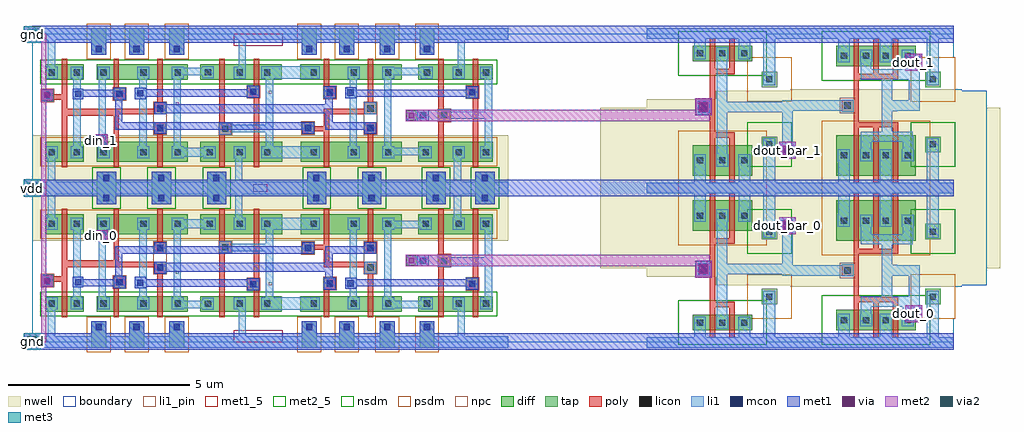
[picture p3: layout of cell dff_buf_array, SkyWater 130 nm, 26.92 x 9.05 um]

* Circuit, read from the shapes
.subckt dff_buf_array clk din_0 din_1 dout_0 dout_1 dout_bar_0 dout_bar_1 gnd vdd
XM1 dff_buf_0_0/dff_0/clkb clk gnd gnd sky130_fd_pr__nfet_01v8 w=0.42 l=0.15
XM2 dff_buf_0_1/dff_0/clkb clk gnd gnd sky130_fd_pr__nfet_01v8 w=0.42 l=0.15
XM3 dff_buf_0_0/dff_0/net1 dff_buf_0_0/dff_0/clkb din_0 gnd sky130_fd_pr__nfet_01v8 w=0.42 l=0.15
XM4 dff_buf_0_1/dff_0/net1 dff_buf_0_1/dff_0/clkb din_1 gnd sky130_fd_pr__nfet_01v8 w=0.42 l=0.15
XM5 dff_buf_0_0/dff_0/net2 clk dff_buf_0_0/dff_0/net1 gnd sky130_fd_pr__nfet_01v8 w=0.42 l=0.15
XM6 dff_buf_0_1/dff_0/net2 clk dff_buf_0_1/dff_0/net1 gnd sky130_fd_pr__nfet_01v8 w=0.42 l=0.15
XM7 gnd dff_buf_0_0/dff_0/net3 dff_buf_0_0/dff_0/net2 gnd sky130_fd_pr__nfet_01v8 w=0.42 l=0.15
XM8 gnd dff_buf_0_1/dff_0/net3 dff_buf_0_1/dff_0/net2 gnd sky130_fd_pr__nfet_01v8 w=0.42 l=0.15
XM9 dff_buf_0_0/dff_0/net3 dff_buf_0_0/dff_0/net1 gnd gnd sky130_fd_pr__nfet_01v8 w=0.42 l=0.15
XM10 dff_buf_0_1/dff_0/net3 dff_buf_0_1/dff_0/net1 gnd gnd sky130_fd_pr__nfet_01v8 w=0.42 l=0.15
XM11 dff_buf_0_0/dff_0/net4 clk dff_buf_0_0/dff_0/net3 gnd sky130_fd_pr__nfet_01v8 w=0.42 l=0.15
XM12 dff_buf_0_1/dff_0/net4 clk dff_buf_0_1/dff_0/net3 gnd sky130_fd_pr__nfet_01v8 w=0.42 l=0.15
XM13 dff_buf_0_0/dff_0/net5 dff_buf_0_0/dff_0/clkb dff_buf_0_0/dff_0/net4 gnd sky130_fd_pr__nfet_01v8 w=0.42 l=0.15
XM14 dff_buf_0_1/dff_0/net5 dff_buf_0_1/dff_0/clkb dff_buf_0_1/dff_0/net4 gnd sky130_fd_pr__nfet_01v8 w=0.42 l=0.15
XM15 gnd dff_buf_0_0/pinv_2_1/A dff_buf_0_0/dff_0/net5 gnd sky130_fd_pr__nfet_01v8 w=0.42 l=0.15
XM16 gnd dff_buf_0_1/pinv_2_1/A dff_buf_0_1/dff_0/net5 gnd sky130_fd_pr__nfet_01v8 w=0.42 l=0.15
XM17 dff_buf_0_0/pinv_2_1/A dff_buf_0_0/dff_0/net4 gnd gnd sky130_fd_pr__nfet_01v8 w=0.42 l=0.15
XM18 dff_buf_0_1/pinv_2_1/A dff_buf_0_1/dff_0/net4 gnd gnd sky130_fd_pr__nfet_01v8 w=0.42 l=0.15
XM19 dout_bar_0 dff_buf_0_0/pinv_2_1/A gnd gnd sky130_fd_pr__nfet_01v8 w=0.42 l=0.15 m=2
XM20 dout_bar_1 dff_buf_0_1/pinv_2_1/A gnd gnd sky130_fd_pr__nfet_01v8 w=0.42 l=0.15 m=2
XM21 dout_0 dout_bar_0 gnd gnd sky130_fd_pr__nfet_01v8 w=0.56 l=0.15 m=3
XM22 dout_1 dout_bar_1 gnd gnd sky130_fd_pr__nfet_01v8 w=0.56 l=0.15 m=3
XM23 dff_buf_0_0/dff_0/clkb clk vdd vdd sky130_fd_pr__pfet_01v8 w=0.55 l=0.15
XM24 dff_buf_0_1/dff_0/clkb clk vdd vdd sky130_fd_pr__pfet_01v8 w=0.55 l=0.15
XM25 dff_buf_0_0/dff_0/net1 clk din_0 vdd sky130_fd_pr__pfet_01v8 w=0.55 l=0.15
XM26 dff_buf_0_1/dff_0/net1 clk din_1 vdd sky130_fd_pr__pfet_01v8 w=0.55 l=0.15
XM27 dff_buf_0_0/dff_0/net2 dff_buf_0_0/dff_0/clkb dff_buf_0_0/dff_0/net1 vdd sky130_fd_pr__pfet_01v8 w=0.55 l=0.15
XM28 dff_buf_0_1/dff_0/net2 dff_buf_0_1/dff_0/clkb dff_buf_0_1/dff_0/net1 vdd sky130_fd_pr__pfet_01v8 w=0.55 l=0.15
XM29 vdd dff_buf_0_0/dff_0/net3 dff_buf_0_0/dff_0/net2 vdd sky130_fd_pr__pfet_01v8 w=0.55 l=0.15
XM30 vdd dff_buf_0_1/dff_0/net3 dff_buf_0_1/dff_0/net2 vdd sky130_fd_pr__pfet_01v8 w=0.55 l=0.15
XM31 dff_buf_0_0/dff_0/net3 dff_buf_0_0/dff_0/net1 vdd vdd sky130_fd_pr__pfet_01v8 w=0.55 l=0.15
XM32 dff_buf_0_1/dff_0/net3 dff_buf_0_1/dff_0/net1 vdd vdd sky130_fd_pr__pfet_01v8 w=0.55 l=0.15
XM33 dff_buf_0_0/dff_0/net4 dff_buf_0_0/dff_0/clkb dff_buf_0_0/dff_0/net3 vdd sky130_fd_pr__pfet_01v8 w=0.55 l=0.15
XM34 dff_buf_0_1/dff_0/net4 dff_buf_0_1/dff_0/clkb dff_buf_0_1/dff_0/net3 vdd sky130_fd_pr__pfet_01v8 w=0.55 l=0.15
XM35 dff_buf_0_0/dff_0/net5 clk dff_buf_0_0/dff_0/net4 vdd sky130_fd_pr__pfet_01v8 w=0.55 l=0.15
XM36 dff_buf_0_1/dff_0/net5 clk dff_buf_0_1/dff_0/net4 vdd sky130_fd_pr__pfet_01v8 w=0.55 l=0.15
XM37 vdd dff_buf_0_0/pinv_2_1/A dff_buf_0_0/dff_0/net5 vdd sky130_fd_pr__pfet_01v8 w=0.55 l=0.15
XM38 vdd dff_buf_0_1/pinv_2_1/A dff_buf_0_1/dff_0/net5 vdd sky130_fd_pr__pfet_01v8 w=0.55 l=0.15
XM39 dff_buf_0_0/pinv_2_1/A dff_buf_0_0/dff_0/net4 vdd vdd sky130_fd_pr__pfet_01v8 w=0.55 l=0.15
XM40 dff_buf_0_1/pinv_2_1/A dff_buf_0_1/dff_0/net4 vdd vdd sky130_fd_pr__pfet_01v8 w=0.55 l=0.15
XM41 dout_bar_0 dff_buf_0_0/pinv_2_1/A vdd vdd sky130_fd_pr__pfet_01v8 w=0.84 l=0.15 m=2
XM42 dout_bar_1 dff_buf_0_1/pinv_2_1/A vdd vdd sky130_fd_pr__pfet_01v8 w=0.84 l=0.15 m=2
XM43 dout_0 dout_bar_0 vdd vdd sky130_fd_pr__pfet_01v8 w=1.12 l=0.15 m=3
XM44 dout_1 dout_bar_1 vdd vdd sky130_fd_pr__pfet_01v8 w=1.12 l=0.15 m=3
.ends

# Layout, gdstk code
import gdstk
lib = gdstk.Library(unit=1e-6, precision=1e-09)
def R(c, l, rs):  # rectangles x0, y0, x1, y1
    for r in rs: c.add(gdstk.rectangle(r[:2], r[2:], *l))
def A(c, l, x, y, w, h, nx, ny, dx, dy):  # array of equal rectangles
    R(c, l, [(x+i*dx, y+j*dy, x+i*dx+w, y+j*dy+h) for i in range(nx) for j in range(ny)])
nwell = (64, 20)
diff = (65, 20)
tap = (65, 44)
poly = (66, 20)
licon = (66, 44)
li1_pin = (67, 16)
li1 = (67, 20)
mcon = (67, 44)
met1_5 = (68, 5)
met1 = (68, 20)
via = (68, 44)
met2_5 = (69, 5)
met2 = (69, 20)
via2 = (69, 44)
met3 = (70, 20)
nsdm = (93, 44)
psdm = (94, 20)
npc = (95, 20)
boundary = (235, 4)

dff = lib.new_cell('dff')
R(dff, nwell, [(0,2.81,13.13,4.61)])
R(dff, diff, [(0.35,0.85,1.42,1.27), (1.78,0.85,4.28,1.27), (4.63,0.85,6.88,1.27), (7.39,0.85,10.19,1.27), (10.64,0.85,12.7,1.27), (0.35,2.99,1.42,3.54), (1.78,2.99,4.28,3.54), (4.63,2.99,6.89,3.54), (7.4,2.99,10.19,3.54), (10.64,2.99,12.7,3.54)])
A(dff, tap, 1.78, 3.81, 0.53, 0.62, 3, 1, 1.52, 0)
R(dff, tap, [(1.63,-0.14,2.04,0.58), (2.67,-0.14,3.08,0.58), (3.78,-0.14,4.19,0.58), (7.43,-0.14,7.84,0.58), (8.47,-0.14,8.88,0.58), (9.58,-0.14,9.99,0.58), (10.68,-0.14,11.09,0.58), (7.58,3.81,8.11,4.43), (9.1,3.81,9.63,4.43), (10.87,3.81,11.4,4.43), (12.22,3.81,12.75,4.43)])
R(dff, poly, [(0.81,0.7,0.96,1.68), (2.24,0.7,2.39,1.5), (3.45,0.7,3.6,1.9), (5.16,0.7,5.31,2.46), (6.11,0.7,6.26,1.44), (8.04,0.7,8.19,1.46), (9.25,0.7,9.4,1.9), (11.2,0.7,11.35,2.09), (12.15,0.7,12.3,1.45), (5.93,1.44,6.26,1.77), (11.97,1.45,12.3,1.78), (8.04,1.46,8.37,1.79), (2.24,1.5,2.57,1.83), (0.25,1.54,0.58,1.68), (0.25,1.68,0.96,1.83), (6.11,1.77,6.26,3.69), (12.15,1.78,12.3,3.69), (0.25,1.83,0.58,1.87), (0.81,1.83,0.96,2.07), (3.36,1.9,3.69,2.07), (9.16,1.9,9.49,2.07), (0.81,2.07,3.69,2.23), (8.04,2.07,9.49,2.23), (11.2,2.09,11.53,2.42), (0.81,2.23,2.39,2.27), (8.04,2.23,8.19,2.55), (0.81,2.27,0.96,3.69), (2.24,2.27,2.39,3.69), (11.2,2.42,11.35,3.69), (3.36,2.44,3.69,2.77), (7.44,2.44,7.77,2.55), (9.16,2.44,9.49,2.77), (5.16,2.46,5.49,2.79), (7.44,2.55,8.19,2.7), (7.44,2.7,7.77,2.77), (8.04,2.7,8.19,3.69), (3.45,2.77,3.6,3.69), (9.25,2.77,9.4,3.69), (5.16,2.79,5.31,3.69)])
A(dff, licon, 1.95, 3.9, 0.17, 0.17, 3, 1, 1.52, 0)
R(dff, licon, [(1.75,0.34,1.92,0.51), (2.79,0.34,2.96,0.51), (3.9,0.34,4.07,0.51), (7.55,0.34,7.72,0.51), (8.59,0.34,8.76,0.51), (9.7,0.34,9.87,0.51), (10.8,0.34,10.97,0.51), (4.76,0.98,4.93,1.15), (0.45,0.99,0.62,1.16), (1.14,0.99,1.31,1.16), (1.88,0.99,2.05,1.16), (2.98,0.99,3.15,1.16), (3.93,0.99,4.1,1.16), (5.64,0.99,5.81,1.16), (6.39,0.99,6.56,1.16), (7.68,0.99,7.85,1.16), (8.78,0.99,8.95,1.16), (9.73,0.99,9.9,1.16), (10.8,0.99,10.97,1.16), (11.68,0.99,11.85,1.16), (12.43,0.99,12.6,1.16), (6.01,1.52,6.18,1.69), (12.05,1.53,12.22,1.7), (8.12,1.54,8.29,1.71), (2.32,1.58,2.49,1.75), (0.33,1.62,0.5,1.79), (3.44,1.98,3.61,2.15), (9.24,1.98,9.41,2.15), (11.28,2.17,11.45,2.34), (3.44,2.52,3.61,2.69), (7.52,2.52,7.69,2.69), (9.24,2.52,9.41,2.69), (5.24,2.54,5.41,2.71), (0.45,3.19,0.62,3.36), (1.14,3.19,1.31,3.36), (1.88,3.19,2.05,3.36), (2.98,3.19,3.15,3.36), (3.93,3.19,4.1,3.36), (4.81,3.19,4.98,3.36), (5.64,3.19,5.81,3.36), (6.39,3.19,6.56,3.36), (7.68,3.19,7.85,3.36), (8.78,3.19,8.95,3.36), (9.73,3.19,9.9,3.36), (10.77,3.19,10.94,3.36), (11.68,3.19,11.85,3.36), (12.43,3.19,12.6,3.36), (7.75,3.9,7.92,4.07), (9.27,3.9,9.44,4.07), (11.04,3.9,11.21,4.07), (12.39,3.9,12.56,4.07)])
R(dff, li1_pin, [(8.74,1.57,8.82,1.64), (6.52,1.58,6.6,1.66), (2.34,1.59,2.45,1.72), (2.92,1.6,3,1.67), (3.96,1.9,4.04,1.98), (9.75,3.2,9.85,3.32)])
A(dff, li1, 1.78, 3.81, 0.53, 0.29, 3, 1, 1.52, 0)
R(dff, li1, [(0,-0.14,13.13,0.17), (0.43,0.17,0.63,0.91), (1.63,0.17,2.04,0.58), (2.67,0.17,3.08,0.58), (3.78,0.17,4.19,0.58), (5.69,0.17,5.89,0.91), (7.43,0.17,7.84,0.58), (8.47,0.17,8.88,0.58), (9.58,0.17,9.99,0.58), (10.68,0.17,11.09,0.58), (11.73,0.17,11.93,0.91), (4.68,0.9,5.01,0.95), (6.31,0.9,7.93,1.24), (0.37,0.91,0.7,1.24), (1.06,0.91,1.39,1.24), (1.8,0.91,2.13,1.24), (2.9,0.91,3.23,1.24), (3.85,0.91,4.18,0.95), (5.56,0.91,5.89,1.24), (8.7,0.91,9.03,1.24), (9.65,0.91,9.98,0.95), (10.72,0.91,11.05,0.95), (11.6,0.91,11.93,1.24), (12.35,0.91,12.68,1.24), (3.85,0.95,5.01,1.15), (9.65,0.95,11.05,1.15), (3.85,1.15,4.18,1.24), (4.68,1.15,5.01,1.23), (9.65,1.15,9.98,1.24), (10.72,1.15,11.05,1.24), (1.13,1.24,1.33,1.52), (1.83,1.24,2.03,2.8), (2.95,1.24,3.15,1.5), (3.9,1.24,4.1,3.11), (6.44,1.24,6.64,2.52), (8.75,1.24,8.95,1.48), (9.7,1.24,9.9,3.11), (12.48,1.24,12.68,2.15), (5.93,1.44,6.26,1.77), (11.97,1.45,12.3,1.78), (8.04,1.46,8.37,1.79), (8.63,1.48,8.95,1.79), (2.24,1.5,2.57,1.83), (2.83,1.5,3.15,1.81), (1.12,1.52,1.41,1.81), (0.25,1.54,0.58,1.87), (8.75,1.79,8.95,3.11), (1.13,1.81,1.33,3.11), (2.95,1.81,3.15,3.11), (3.36,1.9,3.69,2.23), (9.16,1.9,9.49,2.23), (11.2,2.09,11.53,2.1), (10.62,2.1,11.53,2.15), (10.62,2.15,12.68,2.35), (10.62,2.35,11.53,2.42), (12.48,2.35,12.68,3.11), (3.36,2.44,3.69,2.77), (7.44,2.44,7.77,2.77), (9.16,2.44,9.49,2.77), (5.16,2.46,5.49,2.52), (5.16,2.52,6.64,2.72), (5.16,2.72,5.49,2.79), (6.44,2.72,6.64,3.11), (1.75,2.8,2.03,3.08), (1.8,3.08,2.03,3.11), (0.37,3.11,0.7,3.44), (1.06,3.11,1.39,3.44), (1.8,3.11,2.13,3.44), (2.9,3.11,3.23,3.44), (3.85,3.11,4.18,3.15), (4.73,3.11,5.06,3.15), (5.56,3.11,5.89,3.44), (6.31,3.11,7.93,3.44), (8.7,3.11,9.03,3.44), (9.65,3.11,9.98,3.15), (10.69,3.11,11.02,3.15), (11.6,3.11,11.93,3.44), (12.35,3.11,12.68,3.44), (3.85,3.15,5.06,3.4), (9.65,3.15,11.02,3.35), (9.65,3.35,9.98,3.44), (10.69,3.35,11.02,3.44), (3.85,3.4,4.18,3.44), (4.73,3.4,5.06,3.44), (0.43,3.44,0.63,4.1), (5.59,3.44,5.79,4.1), (11.63,3.44,11.83,4.1), (7.58,3.81,8.11,4.1), (9.1,3.81,9.63,4.1), (10.87,3.81,11.4,4.1), (12.22,3.81,12.75,4.1), (0,4.1,13.13,4.43)])
A(dff, mcon, 1.95, 3.9, 0.17, 0.17, 3, 1, 1.52, 0)
R(dff, mcon, [(1.75,0.34,1.92,0.51), (2.79,0.34,2.96,0.51), (3.9,0.34,4.07,0.51), (7.55,0.34,7.72,0.51), (8.59,0.34,8.76,0.51), (9.7,0.34,9.87,0.51), (10.8,0.34,10.97,0.51), (6.01,1.52,6.18,1.69), (12.05,1.53,12.22,1.7), (8.12,1.54,8.29,1.71), (8.69,1.54,8.86,1.71), (2.89,1.56,3.06,1.73), (1.18,1.58,1.35,1.75), (2.32,1.58,2.49,1.75), (0.33,1.61,0.5,1.78), (3.44,1.98,3.61,2.15), (10.69,2.17,10.86,2.34), (3.44,2.52,3.61,2.69), (7.52,2.52,7.69,2.69), (9.24,2.52,9.41,2.69), (1.8,2.85,1.97,3.02), (7.75,3.9,7.92,4.07), (9.27,3.9,9.44,4.07), (11.04,3.9,11.21,4.07), (12.39,3.9,12.56,4.07)])
R(dff, met1_5, [(5.56,0.01,6.91,0.34), (6.09,4.16,6.48,4.36)])
A(dff, met1, 1.78, 3.81, 0.53, 0.23, 3, 1, 1.52, 0)
R(dff, met1, [(0,-0.2,13.13,0.21), (0,-0.2,13.13,0.21), (1.63,0.21,2.04,0.58), (2.67,0.21,3.08,0.58), (3.78,0.21,4.19,0.58), (7.43,0.21,7.84,0.58), (8.47,0.21,8.88,0.58), (9.58,0.21,9.99,0.58), (10.68,0.21,11.09,0.58), (5.93,1.44,6.26,1.54), (11.96,1.45,12.3,1.55), (8.04,1.46,8.37,1.79), (8.63,1.48,8.93,1.55), (2.24,1.5,2.57,1.55), (2.83,1.5,3.13,1.54), (1.12,1.52,1.41,1.55), (0.25,1.54,0.56,1.86), (2.83,1.54,6.26,1.75), (1.12,1.55,2.57,1.75), (8.63,1.55,12.3,1.75), (1.12,1.75,1.41,1.81), (2.24,1.75,2.57,1.83), (2.83,1.75,3.13,1.81), (5.93,1.75,6.26,1.77), (8.63,1.75,8.93,1.79), (11.96,1.75,12.3,1.78), (8.08,1.79,8.28,1.95), (2.28,1.83,2.48,2.45), (3.36,1.9,3.69,1.95), (3.36,1.95,8.28,2.2), (10.3,2.1,10.93,2.42), (3.36,2.2,3.69,2.23), (8.08,2.2,8.28,2.45), (3.36,2.44,3.69,2.45), (7.44,2.44,7.77,2.45), (9.16,2.44,9.49,2.45), (2.28,2.45,7.77,2.65), (8.08,2.45,9.49,2.65), (3.36,2.65,3.69,2.77), (7.44,2.65,7.77,2.77), (9.16,2.65,9.49,2.77), (1.74,2.78,2.08,3.1), (7.58,3.81,8.11,4.04), (9.1,3.81,9.63,4.04), (10.87,3.81,11.4,4.04), (12.22,3.81,12.75,4.04), (0,4.04,13.13,4.49), (0,4.04,13.13,4.49)])
R(dff, via, [(0.325,1.625,0.475,1.775), (10.385,2.185,10.535,2.335), (1.835,2.865,1.985,3.015)])
R(dff, met2_5, [(0.27,1.57,0.53,1.83), (10.33,2.13,10.59,2.39), (1.78,2.81,2.04,3.07)])
R(dff, met2, [(0.25,1.54,0.56,1.86), (0.25,1.54,0.56,1.86), (10.3,2.1,10.62,2.42), (10.3,2.1,10.62,2.42), (1.74,2.78,2.08,3.1), (1.74,2.78,2.08,3.1)])
A(dff, nsdm, 1.655, 3.685, 0.78, 0.87, 3, 1, 1.52, 0)
R(dff, nsdm, [(0.225,0.725,12.825,1.395), (7.455,3.685,8.235,4.555), (8.975,3.685,9.755,4.555), (10.745,3.685,11.525,4.555), (12.095,3.685,12.875,4.555)])
R(dff, psdm, [(1.505,-0.265,2.165,0.705), (2.545,-0.265,3.205,0.705), (3.655,-0.265,4.315,0.705), (7.305,-0.265,7.965,0.705), (8.345,-0.265,9.005,0.705), (9.455,-0.265,10.115,0.705), (10.555,-0.265,11.215,0.705), (0.225,2.865,12.825,3.665)])
R(dff, npc, [(5.91,1.42,6.28,1.79), (11.95,1.43,12.32,1.8), (8.02,1.44,8.39,1.81), (2.22,1.48,2.59,1.85), (0.23,1.52,0.6,1.89), (3.34,1.88,3.71,2.79), (9.14,1.88,9.51,2.79), (11.18,2.07,11.55,2.44), (7.42,2.42,7.79,2.79), (5.14,2.44,5.51,2.81)])
R(dff, boundary, [(0,0,13.13,4.26)])
dff.add(gdstk.Label('net5', (9.8,3.26), layer=67, texttype=16))
dff.add(gdstk.Label('net2', (4,1.94), layer=67, texttype=16))
dff.add(gdstk.Label('net3', (6.56,1.62), layer=67, texttype=16))
dff.add(gdstk.Label('clkb', (2.395,1.655), layer=67, texttype=16))
dff.add(gdstk.Label('net1', (2.96,1.635), layer=67, texttype=16))
dff.add(gdstk.Label('net4', (8.78,1.605), layer=67, texttype=16))
dff.add(gdstk.Label('vdd', (6.285,4.26), layer=68, texttype=5))
dff.add(gdstk.Label('gnd', (6.235,0.175), layer=68, texttype=5))
dff.add(gdstk.Label('D', (1.91,2.94), layer=69, texttype=5))
dff.add(gdstk.Label('Q', (10.46,2.26), layer=69, texttype=5))
dff.add(gdstk.Label('clk', (0.4,1.7), layer=69, texttype=5))
dff.add(gdstk.Label('D', (1.91,2.94), layer=69, texttype=20))
dff.add(gdstk.Label('Q', (10.46,2.26), layer=69, texttype=20))
dff.add(gdstk.Label('clk', (0.405,1.7), layer=69, texttype=20))
dff.add(gdstk.Label('vdd', (6.565,4.265), layer=68, texttype=20))
dff.add(gdstk.Label('gnd', (6.565,0.005), layer=68, texttype=20))

contact_12 = lib.new_cell('contact_12')
R(contact_12, nwell, [(-1.27,-1.27,1.69,1.69)])
R(contact_12, diff, [(0,0,0.42,0.42)])
R(contact_12, licon, [(0.12,0.12,0.29,0.29)])
R(contact_12, li1, [(0.04,0.04,0.37,0.37)])
R(contact_12, psdm, [(-0.4,-0.4,0.82,0.82)])
R(contact_12, boundary, [(-1.27,-1.27,1.69,1.69)])

pmos_m2_w0_840_sli_dli_d = lib.new_cell('pmos_m2_w0_840_sli_dli_da_p')
R(pmos_m2_w0_840_sli_dli_d, nwell, [(-1.27,-1.27,2.91,2.11)])
R(pmos_m2_w0_840_sli_dli_d, diff, [(0,0,1.64,0.84)])
R(pmos_m2_w0_840_sli_dli_d, poly, [(0.47,-0.36,1.17,-0.21), (0.47,-0.21,0.62,1.05), (1.01,-0.21,1.16,1.05)])
R(pmos_m2_w0_840_sli_dli_d, li1, [(0.05,0.25,0.37,0.59), (0.65,0.25,0.99,0.59), (1.27,0.25,1.59,0.59)])
R(pmos_m2_w0_840_sli_dli_d, psdm, [(-0.4,-0.4,2.04,1.24)])
R(pmos_m2_w0_840_sli_dli_d, boundary, [(-1.27,-1.27,2.91,2.11)])
pmos_m2_w0_840_sli_dli_d.add(gdstk.Reference(contact_12, (0,0.21)))
pmos_m2_w0_840_sli_dli_d.add(gdstk.Reference(contact_12, (0.61,0.21)))
pmos_m2_w0_840_sli_dli_d.add(gdstk.Reference(contact_12, (1.22,0.21)))
pmos_m2_w0_840_sli_dli_d.add(gdstk.Label('G', (0.82,-0.285), layer=66, texttype=20))
pmos_m2_w0_840_sli_dli_d.add(gdstk.Label('S', (0.21,0.42), layer=67, texttype=20))
pmos_m2_w0_840_sli_dli_d.add(gdstk.Label('S', (1.43,0.42), layer=67, texttype=20))
pmos_m2_w0_840_sli_dli_d.add(gdstk.Label('D', (0.82,0.42), layer=67, texttype=20))

contact_11 = lib.new_cell('contact_11')
R(contact_11, diff, [(0,0,0.42,0.42)])
R(contact_11, licon, [(0.12,0.12,0.29,0.29)])
R(contact_11, li1, [(0.04,0.04,0.37,0.37)])
R(contact_11, nsdm, [(-0.4,-0.4,0.82,0.82)])
R(contact_11, boundary, [(-0.4,-0.4,0.82,0.82)])

nmos_m2_w0_420_sli_dli_d = lib.new_cell('nmos_m2_w0_420_sli_dli_da_p')
R(nmos_m2_w0_420_sli_dli_d, diff, [(0,0,1.64,0.42)])
R(nmos_m2_w0_420_sli_dli_d, poly, [(0.47,-0.21,0.62,0.63), (1.01,-0.21,1.16,0.63), (0.47,0.63,1.17,0.78)])
R(nmos_m2_w0_420_sli_dli_d, li1, [(0.05,0.05,0.37,0.37), (0.65,0.05,0.99,0.37), (1.27,0.05,1.59,0.37)])
R(nmos_m2_w0_420_sli_dli_d, nsdm, [(-0.4,-0.4,2.04,0.82)])
R(nmos_m2_w0_420_sli_dli_d, boundary, [(-0.4,-0.4,2.04,0.82)])
nmos_m2_w0_420_sli_dli_d.add(gdstk.Reference(contact_11, (0,0)))
nmos_m2_w0_420_sli_dli_d.add(gdstk.Reference(contact_11, (0.61,0)))
nmos_m2_w0_420_sli_dli_d.add(gdstk.Reference(contact_11, (1.22,0)))
nmos_m2_w0_420_sli_dli_d.add(gdstk.Label('G', (0.82,0.705), layer=66, texttype=20))
nmos_m2_w0_420_sli_dli_d.add(gdstk.Label('S', (0.21,0.21), layer=67, texttype=20))
nmos_m2_w0_420_sli_dli_d.add(gdstk.Label('S', (1.43,0.21), layer=67, texttype=20))
nmos_m2_w0_420_sli_dli_d.add(gdstk.Label('D', (0.82,0.21), layer=67, texttype=20))

contact_13 = lib.new_cell('contact_13')
R(contact_13, nwell, [(-1.27,-1.27,1.69,1.69)])
R(contact_13, tap, [(0,0,0.42,0.42)])
R(contact_13, licon, [(0.12,0.12,0.29,0.29)])
R(contact_13, li1, [(0.04,0.04,0.37,0.37)])
R(contact_13, nsdm, [(-0.4,-0.4,0.82,0.82)])
R(contact_13, boundary, [(-1.27,-1.27,1.69,1.69)])

contact_14 = lib.new_cell('contact_14')
R(contact_14, tap, [(0,0,0.42,0.42)])
R(contact_14, licon, [(0.12,0.12,0.29,0.29)])
R(contact_14, li1, [(0.04,0.04,0.37,0.37)])
R(contact_14, psdm, [(-0.4,-0.4,0.82,0.82)])
R(contact_14, boundary, [(-0.4,-0.4,0.82,0.82)])

contact_15 = lib.new_cell('contact_15')
R(contact_15, poly, [(0,0,0.33,0.33)])
R(contact_15, licon, [(0.08,0.08,0.25,0.25)])
R(contact_15, li1, [(0,0,0.33,0.33)])
R(contact_15, npc, [(-0.05,-0.05,0.38,0.38)])
R(contact_15, boundary, [(-0.05,-0.05,0.38,0.38)])

pinv_2 = lib.new_cell('pinv_2')
R(pinv_2, nwell, [(-1.27,2.04,5.24,6.46)])
R(pinv_2, poly, [(1.74,1.12,1.89,2.72), (1.58,1.86,1.74,2.19)])
R(pinv_2, li1, [(0,-0.14,3.97,0.14), (1.32,-0.14,1.64,0.39), (2.54,-0.14,2.86,0.39), (3.22,0,3.55,1.27), (1.94,0.39,2.23,3.67), (1.41,1.86,1.74,2.18), (2.09,1.88,2.38,2.16), (3.22,3.06,3.55,4.26), (1.32,3.33,1.64,4.4), (2.54,3.33,2.86,4.4), (0,4.12,3.97,4.4)])
R(pinv_2, boundary, [(0,0,3.97,4.26), (0,0,3.97,4.26)])
pinv_2.add(gdstk.Reference(pmos_m2_w0_840_sli_dli_d, (1.27,3.08)))
pinv_2.add(gdstk.Reference(nmos_m2_w0_420_sli_dli_d, (1.27,0.34)))
pinv_2.add(gdstk.Reference(contact_13, (3.18,2.85)))
pinv_2.add(gdstk.Reference(contact_14, (3.18,1.06)))
pinv_2.add(gdstk.Reference(contact_15, (1.41,1.86)))
pinv_2.add(gdstk.Label('A', (1.575,2.02), layer=67, texttype=20))
pinv_2.add(gdstk.Label('Z', (2.235,2.02), layer=67, texttype=20))
pinv_2.add(gdstk.Label('gnd', (1.985,0), layer=67, texttype=20))
pinv_2.add(gdstk.Label('vdd', (1.985,4.26), layer=67, texttype=20))

pmos_m3_w1_120_sli_dli_d = lib.new_cell('pmos_m3_w1_120_sli_dli_da_p')
R(pmos_m3_w1_120_sli_dli_d, nwell, [(-1.27,-1.27,3.45,2.39)])
R(pmos_m3_w1_120_sli_dli_d, diff, [(0,0,2.18,1.12)])
A(pmos_m3_w1_120_sli_dli_d, poly, 0.47, -0.21, 0.15, 1.54, 3, 1, 0.54, 0)
R(pmos_m3_w1_120_sli_dli_d, poly, [(0.47,-0.36,1.71,-0.21)])
R(pmos_m3_w1_120_sli_dli_d, li1, [(0.67,-0.09,2.11,0.19), (0.67,0.05,0.96,0.56), (1.83,0.05,2.12,0.56), (0.05,0.39,0.37,0.73), (1.19,0.39,1.53,0.73)])
R(pmos_m3_w1_120_sli_dli_d, psdm, [(-0.4,-0.4,2.58,1.52)])
R(pmos_m3_w1_120_sli_dli_d, boundary, [(-1.27,-1.27,3.45,2.39)])
pmos_m3_w1_120_sli_dli_d.add(gdstk.Reference(contact_12, (0,0.35)))
pmos_m3_w1_120_sli_dli_d.add(gdstk.Reference(contact_12, (0.61,0.35)))
pmos_m3_w1_120_sli_dli_d.add(gdstk.Reference(contact_12, (1.15,0.35)))
pmos_m3_w1_120_sli_dli_d.add(gdstk.Reference(contact_12, (1.76,0.35)))
pmos_m3_w1_120_sli_dli_d.add(gdstk.Label('G', (1.09,-0.285), layer=66, texttype=20))
pmos_m3_w1_120_sli_dli_d.add(gdstk.Label('S', (0.21,0.56), layer=67, texttype=20))
pmos_m3_w1_120_sli_dli_d.add(gdstk.Label('S', (1.36,0.56), layer=67, texttype=20))
pmos_m3_w1_120_sli_dli_d.add(gdstk.Label('D', (1.39,0.05), layer=67, texttype=20))

nmos_m3_w0_560_sli_dli_d = lib.new_cell('nmos_m3_w0_560_sli_dli_da_p')
R(nmos_m3_w0_560_sli_dli_d, diff, [(0,0,2.18,0.56)])
A(nmos_m3_w0_560_sli_dli_d, poly, 0.47, -0.21, 0.15, 0.98, 3, 1, 0.54, 0)
R(nmos_m3_w0_560_sli_dli_d, poly, [(0.47,0.77,1.71,0.92)])
R(nmos_m3_w0_560_sli_dli_d, li1, [(0.05,0.11,0.37,0.45), (1.19,0.11,1.53,0.45), (0.67,0.28,0.96,0.79), (1.83,0.28,2.12,0.79), (0.67,0.65,2.11,0.93)])
R(nmos_m3_w0_560_sli_dli_d, nsdm, [(-0.4,-0.4,2.58,0.96)])
R(nmos_m3_w0_560_sli_dli_d, boundary, [(-0.4,-0.4,2.58,0.96)])
nmos_m3_w0_560_sli_dli_d.add(gdstk.Reference(contact_11, (0,0.07)))
nmos_m3_w0_560_sli_dli_d.add(gdstk.Reference(contact_11, (0.61,0.07)))
nmos_m3_w0_560_sli_dli_d.add(gdstk.Reference(contact_11, (1.15,0.07)))
nmos_m3_w0_560_sli_dli_d.add(gdstk.Reference(contact_11, (1.76,0.07)))
nmos_m3_w0_560_sli_dli_d.add(gdstk.Label('G', (1.09,0.845), layer=66, texttype=20))
nmos_m3_w0_560_sli_dli_d.add(gdstk.Label('S', (1.36,0.28), layer=67, texttype=20))
nmos_m3_w0_560_sli_dli_d.add(gdstk.Label('S', (0.21,0.28), layer=67, texttype=20))
nmos_m3_w0_560_sli_dli_d.add(gdstk.Label('D', (1.39,0.79), layer=67, texttype=20))

pinv_3 = lib.new_cell('pinv_3')
R(pinv_3, nwell, [(-1.27,2.04,5.78,6.46)])
R(pinv_3, poly, [(1.74,1.26,1.89,2.44), (1.58,1.82,1.74,2.15)])
R(pinv_3, li1, [(0,-0.14,4.51,0.14), (1.32,-0.14,1.64,0.45), (2.46,-0.14,2.8,0.45), (3.76,0,4.09,1.27), (2.52,0.99,2.81,2.99), (1.41,1.82,1.74,2.16), (2.66,1.84,2.95,2.14), (3.76,3.06,4.09,4.26), (1.32,3.19,1.64,4.4), (2.46,3.19,2.8,4.4), (0,4.12,4.51,4.4)])
R(pinv_3, boundary, [(0,0,4.51,4.26), (0,0,4.51,4.26)])
pinv_3.add(gdstk.Reference(pmos_m3_w1_120_sli_dli_d, (1.27,2.8)))
pinv_3.add(gdstk.Reference(nmos_m3_w0_560_sli_dli_d, (1.27,0.34)))
pinv_3.add(gdstk.Reference(contact_13, (3.72,2.85)))
pinv_3.add(gdstk.Reference(contact_14, (3.72,1.06)))
pinv_3.add(gdstk.Reference(contact_15, (1.41,1.82)))
pinv_3.add(gdstk.Label('A', (1.575,1.99), layer=67, texttype=20))
pinv_3.add(gdstk.Label('Z', (2.805,1.99), layer=67, texttype=20))
pinv_3.add(gdstk.Label('gnd', (2.255,0), layer=67, texttype=20))
pinv_3.add(gdstk.Label('vdd', (2.255,4.26), layer=67, texttype=20))

contact_16 = lib.new_cell('contact_16')
R(contact_16, li1, [(0,0,0.33,0.33)])
R(contact_16, mcon, [(0.08,0.08,0.25,0.25)])
R(contact_16, met1, [(0.02,0.02,0.31,0.31)])
R(contact_16, boundary, [(0,0,0.33,0.33)])

contact_6 = lib.new_cell('contact_6')
R(contact_6, met1, [(0,0,0.46,0.46)])
R(contact_6, via, [(0.1,0.1,0.36,0.36)])
R(contact_6, met2, [(0,0,0.46,0.46)])
R(contact_6, boundary, [(0,0,0.46,0.46)])

dff_buf_0 = lib.new_cell('dff_buf_0')
R(dff_buf_0, li1, [(24.18,0.79,24.47,1.99), (20.68,1.84,20.97,2.13), (20.83,1.84,22.48,2.13), (23.72,1.84,24.32,2.13), (24.18,1.84,24.47,2.13), (19.18,1.88,20.83,2.17), (20.68,1.88,20.97,2.17), (20.68,1.99,20.97,2.02), (20.68,2.02,20.97,3.22)])
R(dff_buf_0, met1, [(0,-0.2,25.42,0.25), (0,4.04,25.42,4.49)])
R(dff_buf_0, met2, [(24.24,0.72,24.38,0.86), (0.25,1.54,0.56,1.86), (18.36,2.02,18.68,2.26), (10.46,2.1,18.52,2.42), (18.36,2.1,18.68,2.42), (1.74,2.78,2.08,3.1), (20.76,3.15,20.9,3.29)])
R(dff_buf_0, boundary, [(0,0,25.42,4.26)])
dff_buf_0.add(gdstk.Reference(dff, (0,0)))
dff_buf_0.add(gdstk.Reference(pinv_2, (16.94,0)))
dff_buf_0.add(gdstk.Reference(pinv_3, (20.91,0)))
dff_buf_0.add(gdstk.Reference(contact_16, (18.35,1.86)))
dff_buf_0.add(gdstk.Reference(contact_6, (18.28,1.79)))
dff_buf_0.add(gdstk.Reference(contact_16, (24.15,0.62)))
dff_buf_0.add(gdstk.Reference(contact_6, (24.08,0.56)))
dff_buf_0.add(gdstk.Reference(contact_16, (20.66,3.06)))
dff_buf_0.add(gdstk.Reference(contact_6, (20.6,2.99)))
dff_buf_0.add(gdstk.Label('vdd', (12.71,4.265), layer=68, texttype=20))
dff_buf_0.add(gdstk.Label('gnd', (12.71,0.025), layer=68, texttype=20))
dff_buf_0.add(gdstk.Label('clk', (0.405,1.7), layer=69, texttype=20))
dff_buf_0.add(gdstk.Label('D', (1.91,2.94), layer=69, texttype=20))
dff_buf_0.add(gdstk.Label('Q', (24.31,0.79), layer=69, texttype=20))
dff_buf_0.add(gdstk.Label('Qb', (20.83,3.22), layer=69, texttype=20))

contact_7 = lib.new_cell('contact_7')
R(contact_7, met2, [(0,0,0.46,0.46)])
R(contact_7, via2, [(0.09,0.09,0.37,0.37)])
R(contact_7, met3, [(0.01,0.01,0.45,0.45)])
R(contact_7, boundary, [(0,0,0.46,0.46)])

dff_buf_array = lib.new_cell('dff_buf_array')
R(dff_buf_array, met1, [(0,-0.2,25.42,0.25), (0,4.04,25.42,4.49), (0,4.04,25.42,4.49), (0,8.28,25.42,8.73)])
R(dff_buf_array, met2, [(0.25,0,0.39,8.52), (24.24,0.72,24.38,0.86), (1.74,2.78,2.08,3.1), (20.76,3.15,20.9,3.29), (20.76,5.23,20.9,5.37), (1.74,5.42,2.08,5.74), (24.24,7.66,24.38,7.8)])
R(dff_buf_array, met3, [(-0.23,-0.2,0.23,0.26), (-0.23,4.02,0.23,4.48), (-0.23,4.04,0.23,4.5), (-0.23,8.26,0.23,8.72)])
R(dff_buf_array, boundary, [(0,0,25.42,8.52)])
dff_buf_array.add(gdstk.Reference(dff_buf_0, (0,0)))
dff_buf_array.add(gdstk.Reference(dff_buf_0, (0,8.52), x_reflection=True))
dff_buf_array.add(gdstk.Reference(contact_6, (-0.23,4.04)))
dff_buf_array.add(gdstk.Reference(contact_7, (-0.23,4.04)))
dff_buf_array.add(gdstk.Reference(contact_6, (-0.23,-0.2)))
dff_buf_array.add(gdstk.Reference(contact_7, (-0.23,-0.2)))
dff_buf_array.add(gdstk.Reference(contact_6, (-0.23,4.02)))
dff_buf_array.add(gdstk.Reference(contact_7, (-0.23,4.02)))
dff_buf_array.add(gdstk.Reference(contact_6, (-0.23,8.26)))
dff_buf_array.add(gdstk.Reference(contact_7, (-0.23,8.26)))
dff_buf_array.add(gdstk.Label('vdd', (0,4.25), layer=70, texttype=20))
dff_buf_array.add(gdstk.Label('vdd', (0,4.27), layer=70, texttype=20))
dff_buf_array.add(gdstk.Label('gnd', (0,0.03), layer=70, texttype=20))
dff_buf_array.add(gdstk.Label('gnd', (0,8.49), layer=70, texttype=20))
dff_buf_array.add(gdstk.Label('din_0', (1.91,2.94), layer=69, texttype=20))
dff_buf_array.add(gdstk.Label('dout_0', (24.31,0.79), layer=69, texttype=20))
dff_buf_array.add(gdstk.Label('dout_bar_0', (20.83,3.22), layer=69, texttype=20))
dff_buf_array.add(gdstk.Label('din_1', (1.91,5.58), layer=69, texttype=20))
dff_buf_array.add(gdstk.Label('dout_1', (24.31,7.73), layer=69, texttype=20))
dff_buf_array.add(gdstk.Label('dout_bar_1', (20.83,5.3), layer=69, texttype=20))
dff_buf_array.add(gdstk.Label('clk', (0.32,4.26), layer=69, texttype=20))

lib.write_gds('dff_buf_array.gds')
